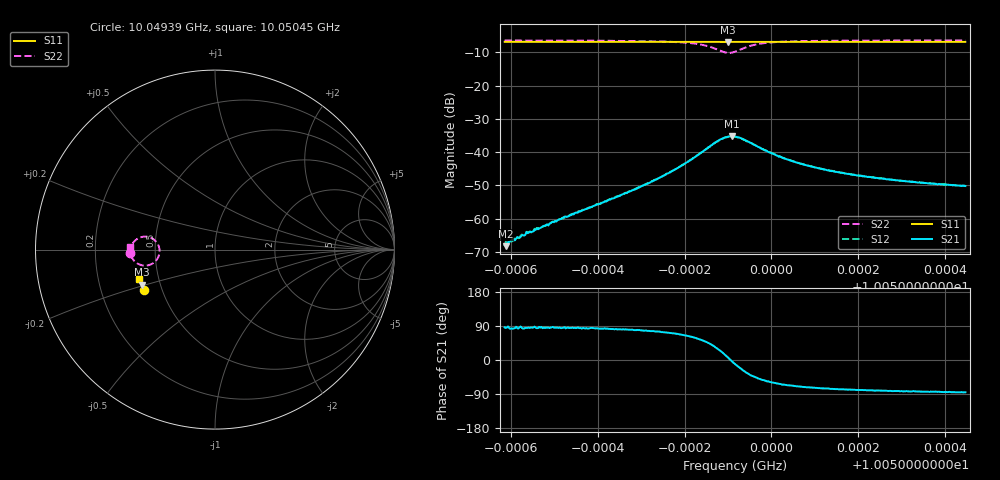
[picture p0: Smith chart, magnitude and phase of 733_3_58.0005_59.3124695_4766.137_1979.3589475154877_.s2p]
#  HZ  S  RI  R  50.00
! Rohde & Schwarz Vector Network Analyzer
! Rohde-Schwarz,ZNB20-2Port,1311601062101988,3.16
! Created: UTC 3/21/2024, 1:23:11 AM
! freq[Hz]  re:S11  im:S11  re:S21  im:S21  re:S12  im:S12  re:S22  im:S22
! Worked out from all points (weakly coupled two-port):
!   401 points, 10.04939 GHz to 10.05045 GHz, reference 50 ohm
!   highest |S21| = -35.27 dB at 10.04991 GHz (marker M1); lowest = -68.2 dB at 10.04939 GHz (marker M2)
!   lowest |S11| = -6.9 dB at 10.0499 GHz (marker M3), VSWR 2.64, Z = 19.7 - j9.68 ohm
!   |S11| at or under -10 dB: nowhere
!   |S22| runs from -10.2 to -6.5 dB; largest |S21 - S12| = 0.0012
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1.0049386e10  -0.3935 -0.2263  2.73e-05 0.0004  2.06e-05 0.000388  -0.4738 -0.0216
1.0049388e10  -0.3938 -0.2261  3.81e-05 0.000385  3.28e-05 0.000451  -0.4738 -0.0214
1.0049393e10  -0.3938 -0.2258  1.27e-05 0.000447  2.05e-05 0.000444  -0.4738 -0.0208
1.0049415e10  -0.3946 -0.2245  5.67e-05 0.000528  3.12e-05 0.000493  -0.4737 -0.0187
1.0049428e10  -0.3948 -0.2237  7.08e-05 0.000562  1.02e-05 0.0006  -0.4736 -0.0172
1.0049441e10  -0.3953 -0.223  5.37e-05 0.000619  1.74e-05 0.000627  -0.4734 -0.0159
1.0049563e10  -0.399 -0.2159  0.000161 0.0013  1.48e-05 0.00134  -0.4717 -0.00135
1.0049685e10  -0.4026 -0.2085  0.000528 0.0027  0.00037 0.00276  -0.4657 0.0198
1.0049741e10  -0.4042 -0.205  0.00109 0.00394  0.000891 0.00401  -0.4585 0.0343
1.0049794e10  -0.4054 -0.2016  0.00251 0.00583  0.00221 0.00595  -0.4415 0.0537
1.0049855e10  -0.4066 -0.1975  0.00844 0.00839  0.00797 0.00869  -0.3804 0.0719
1.0049879e10  -0.4067 -0.1962  0.0134 0.00688  0.0129 0.00742  -0.3355 0.0515
1.00499e10  -0.4068 -0.1953  0.017 0.00191  0.0167 0.00276  -0.3092 -9.02e-05
1.0049908e10  -0.4068 -0.1952  0.0172 -0.000713  0.0172 0.000171  -0.3104 -0.0239
1.0049916e10  -0.4072 -0.1949  0.0168 -0.00317  0.0168 -0.00203  -0.3181 -0.0459
1.0049942e10  -0.4082 -0.194  0.0122 -0.00816  0.0127 -0.00734  -0.3675 -0.086
1.004998e10  -0.4097 -0.192  0.00671 -0.00883  0.0073 -0.00836  -0.4222 -0.0825
1.005003e10  -0.4114 -0.1889  0.00336 -0.0073  0.00384 -0.00709  -0.4525 -0.0599
1.0050094e10  -0.4131 -0.1848  0.0018 -0.00576  0.00214 -0.00567  -0.4657 -0.0385
1.0050186e10  -0.4157 -0.1792  0.000912 -0.00448  0.00117 -0.00449  -0.4719 -0.0187
1.0050271e10  -0.4178 -0.174  0.000576 -0.00384  0.00078 -0.00378  -0.474 -0.00623
1.0050446e10  -0.4218 -0.1631  0.000258 -0.00308  0.000432 -0.0031  -0.4749 0.013
